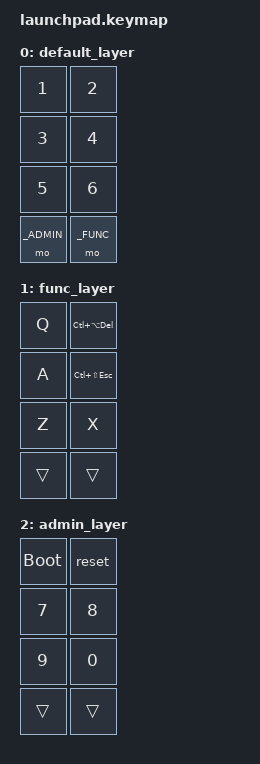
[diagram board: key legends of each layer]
/*
 * Copyright (c) 2020 The ZMK Contributors
 *
 * SPDX-License-Identifier: MIT
 */

#include <behaviors.dtsi>
#include <dt-bindings/zmk/bt.h>
#include <dt-bindings/zmk/keys.h>
#include <dt-bindings/zmk/ext_power.h>

/* Layers */
#define _FUNC 1
#define _ADMIN 2

/ {
    keymap {
        compatible = "zmk,keymap";
        
        default_layer {
            bindings = <
                &kp N1      &kp N2
                &kp N3      &kp N4
                &kp N5      &kp N6
                &mo _ADMIN  &mo _FUNC
            >;   
        };
        
        func_layer {
            bindings = <
                &kp Q   &kp LC(LA(DELETE))
                &kp A   &kp LC(LS(ESCAPE))
                &kp Z   &kp X
                &trans  &trans
            >;
        };

        admin_layer {
            bindings = <
                &bootloader  &reset
                &kp N7       &kp N8
                &kp N9       &kp N0
                &trans       &trans
            >;
        };
    };
};
